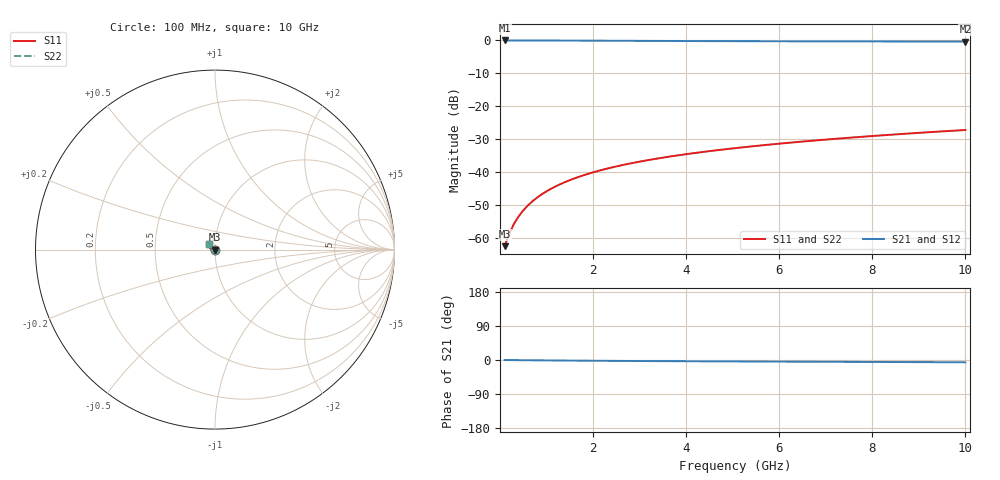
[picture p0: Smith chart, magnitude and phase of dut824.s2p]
! Touchstone file exported from HFSS 2024.1.0
!  File:  C:/UserFiles/LocalFiles/RDL_TSV_Batchsim/temp_TSV1_824_1779878466.aedt
!  Generated:  06:48:56 PM May 27, 2026
!  Design:  TSV1
!  Project:  temp_TSV1_824_1779878466
!  Setup:  Setup1
!  Solution:  Sweep
! Variables:
!  dtsv = 5.19um
!  hbump = 3um
!  htsv = 87.84um
!  lrdl = 252.1521522um
!  p = 40
!  p1 = 51.66um
!  t = 500um
!  trdl = 3um
!  wrdl = 24.89489489um
# GHz S MA R 50.000000
! Terminal data exported
! Port[1] = TSV22_T1
! Port[2] = TSV22_T2
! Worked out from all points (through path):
!   100 points, 100 MHz to 10 GHz, reference 50 ohm
!   highest |S21| = 0.00 dB at 100 MHz (marker M1); lowest = -0.3 dB at 10 GHz (marker M2)
!   lowest |S11| = -62.6 dB at 100 MHz (marker M3), VSWR 1.00, Z = 50.1 - j0.052 ohm
!   |S11| at or under -10 dB: start of sweep to end of sweep
!   |S22| runs from -62.6 to -27.3 dB; largest |S21 - S12| = 6.6e-15
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0.1  0.0007391 -44.7  0.9994 -0.1  0.9994 -0.1  0.0007391 -44.7
! Gamma 0 0 0 0
! Port Impedance 50 0 50 0
0.2  0.001148 -66.2  0.9993 -0.2  0.9993 -0.2  0.001148 -66.2
0.3  0.001613 -77.5  0.9992 -0.3  0.9992 -0.3  0.001613 -77.5
0.4  0.002096 -84.8  0.999 -0.4  0.999 -0.4  0.002096 -84.8
0.5  0.002587 -90.3  0.9988 -0.5  0.9988 -0.5  0.002587 -90.3
0.6  0.00308 -94.9  0.9986 -0.6  0.9986 -0.6  0.00308 -94.9
0.7  0.003574 -98.9  0.9983 -0.7  0.9983 -0.7  0.003574 -98.9
0.9  0.00456 -105.8  0.9976 -1.0  0.9976 -1.0  0.00456 -105.8
1  0.005051 -109.0  0.9972 -1.1  0.9972 -1.1  0.005051 -109.0
1.2  0.006027 -114.9  0.9963 -1.2  0.9963 -1.2  0.006027 -114.9
1.5  0.00747 -123.0  0.9947 -1.5  0.9947 -1.5  0.00747 -123.0
1.8  0.008886 -130.4  0.993 -1.8  0.993 -1.8  0.008886 -130.4
2.1  0.01028 -137.4  0.9912 -2.0  0.9912 -2.0  0.01028 -137.4
2.5  0.01209 -146.0  0.9886 -2.3  0.9886 -2.3  0.01209 -146.0
2.9  0.01385 -153.9  0.9861 -2.6  0.9861 -2.6  0.01385 -153.9
3.4  0.01602 -162.8  0.983 -2.9  0.983 -2.9  0.01602 -162.8
4.2  0.0194 -175.2  0.9786 -3.4  0.9786 -3.4  0.0194 -175.2
5.1  0.02313 173.2  0.9744 -3.8  0.9744 -3.8  0.02313 173.2
5.9  0.02643 164.6  0.9714 -4.2  0.9714 -4.2  0.02643 164.6
6.7  0.02972 157.2  0.9688 -4.6  0.9688 -4.6  0.02972 157.2
8.4  0.03673 144.8  0.9647 -5.3  0.9647 -5.3  0.03673 144.8
10  0.04336 136.0  0.9618 -6.0  0.9618 -6.0  0.04336 136.0
